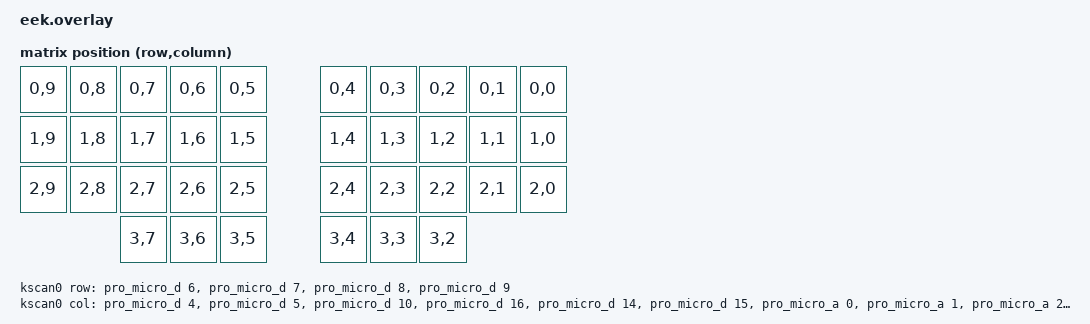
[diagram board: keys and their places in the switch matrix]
/*
 * Copyright (c) 2020 The ZMK Contributors
 *
 * SPDX-License-Identifier: MIT
 */

#include <dt-bindings/zmk/matrix_transform.h>

/ {
    chosen {
        zmk,kscan = &kscan0;
        zmk,matrix_transform = &default_transform;
    };

    default_transform: keymap_transform_0 {
        compatible = "zmk,matrix-transform";
        columns = <10>;
        rows = <4>;
        map = <
    RC(0,9) RC(0,8) RC(0,7) RC(0,6) RC(0,5) RC(0,4) RC(0,3) RC(0,2) RC(0,1) RC(0,0)
    RC(1,9) RC(1,8) RC(1,7) RC(1,6) RC(1,5) RC(1,4) RC(1,3) RC(1,2) RC(1,1) RC(1,0)
    RC(2,9) RC(2,8) RC(2,7) RC(2,6) RC(2,5) RC(2,4) RC(2,3) RC(2,2) RC(2,1) RC(2,0)
                    RC(3,7) RC(3,6) RC(3,5) RC(3,4) RC(3,3) RC(3,2) 
            >;
    };

    kscan0: kscan_0 {
        compatible = "zmk,kscan-gpio-matrix";
        label = "KSCAN";
        diode-direction = "col2row";

        col-gpios
            = <&pro_micro_d 4 GPIO_ACTIVE_HIGH>
            , <&pro_micro_d 5 GPIO_ACTIVE_HIGH>
            , <&pro_micro_d 10 GPIO_ACTIVE_HIGH>
            , <&pro_micro_d 16 GPIO_ACTIVE_HIGH>
            , <&pro_micro_d 14 GPIO_ACTIVE_HIGH>
            , <&pro_micro_d 15 GPIO_ACTIVE_HIGH>
            , <&pro_micro_a 0 GPIO_ACTIVE_HIGH>
            , <&pro_micro_a 1 GPIO_ACTIVE_HIGH>
            , <&pro_micro_a 2 GPIO_ACTIVE_HIGH>
            , <&pro_micro_a 3 GPIO_ACTIVE_HIGH>
            ;

        row-gpios
            = <&pro_micro_d 6 (GPIO_ACTIVE_HIGH | GPIO_PULL_DOWN)>
            , <&pro_micro_d 7 (GPIO_ACTIVE_HIGH | GPIO_PULL_DOWN)>
            , <&pro_micro_d 8 (GPIO_ACTIVE_HIGH | GPIO_PULL_DOWN)>
            , <&pro_micro_d 9 (GPIO_ACTIVE_HIGH | GPIO_PULL_DOWN)>
            ;
    };
};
